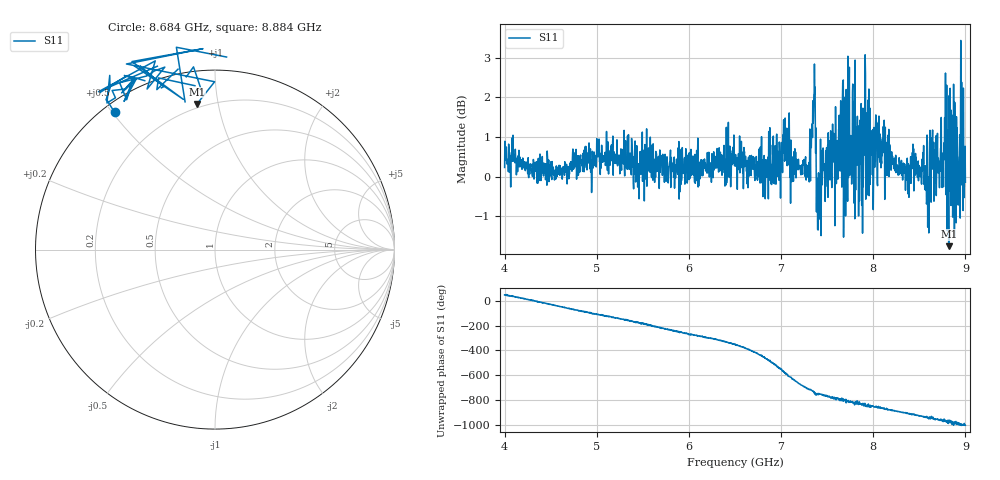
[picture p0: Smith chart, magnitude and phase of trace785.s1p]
! Created with skrf 1.8.0 (http://scikit-rf.org).
# Hz S RI R 50.0
!freq ReS11 ImS11
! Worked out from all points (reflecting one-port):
!   1601 points, 4 GHz to 9 GHz, reference 50 ohm
!   lowest |S11| = -1.7 dB at 8.819 GHz (marker M1), VSWR 9.96, Z = 8.87 + j43.4 ohm
!   phase of S11 starts at 48 deg and turns -1053 deg over the sweep
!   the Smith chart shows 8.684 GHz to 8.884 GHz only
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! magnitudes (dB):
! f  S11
! 4 GHz  0.2
! 4.625 GHz  -0.1
! 5.25 GHz  0.1
! 5.875 GHz  0.2
! 6.5 GHz  0.5
! 6.816 GHz  0.5
! 7.044 GHz  1.5
! 7.125 GHz  0.3
! 7.294 GHz  0.0
! 7.347 GHz  1.3
! 7.409 GHz  -1.1
! 7.512 GHz  1.1
! 7.619 GHz  0.1
! 7.65 GHz  1.7
! 7.75 GHz  0.6
! 7.866 GHz  1.1
! 7.928 GHz  1.4
! 7.944 GHz  1.7
! 8.05 GHz  1.4
! 8.375 GHz  -0.2
! 8.441 GHz  -0.4
! 8.562 GHz  0.3
! 8.584 GHz  1.1
! 8.656 GHz  0.9
! 8.819 GHz  -1.7
! 8.919 GHz  0.3
! 8.956 GHz  -0.2
! 9 GHz  -0.1
